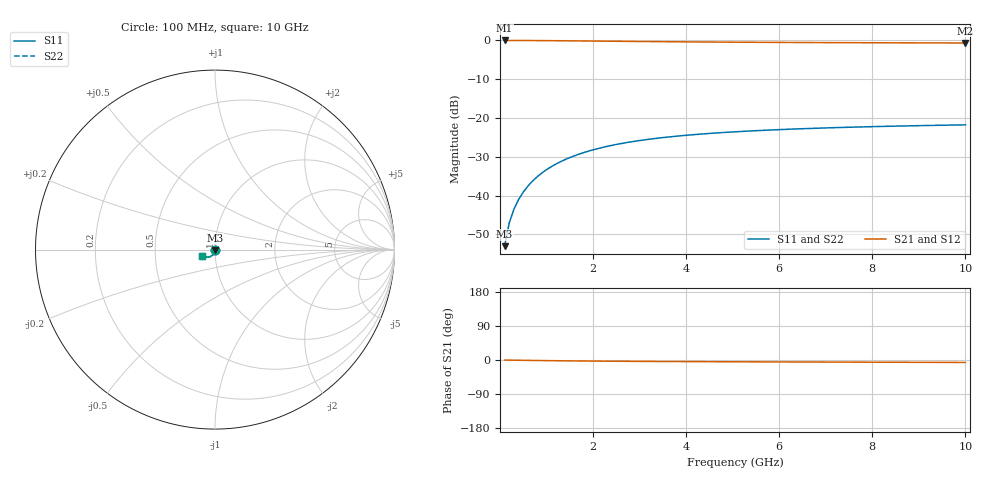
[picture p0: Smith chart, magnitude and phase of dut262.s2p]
! Touchstone file exported from HFSS 2024.1.0
!  File:  C:/UserFiles/LocalFiles/RDL_TSV_Batchsim/temp_TSV1_262_1778769593.aedt
!  Generated:  10:43:24 PM May 14, 2026
!  Design:  TSV1
!  Project:  temp_TSV1_262_1778769593
!  Setup:  Setup1
!  Solution:  Sweep
! Variables:
!  dtsv = 13.84um
!  hbump = 3um
!  htsv = 99.12um
!  lrdl = 252.1521522um
!  p = 40
!  p1 = 44.49um
!  t = 500um
!  trdl = 3um
!  wrdl = 24.89489489um
# GHz S MA R 50.000000
! Terminal data exported
! Port[1] = TSV22_T1
! Port[2] = TSV22_T2
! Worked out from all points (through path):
!   100 points, 100 MHz to 10 GHz, reference 50 ohm
!   highest |S21| = 0.00 dB at 100 MHz (marker M1); lowest = -0.7 dB at 10 GHz (marker M2)
!   lowest |S11| = -53.1 dB at 100 MHz (marker M3), VSWR 1.00, Z = 50 - j0.222 ohm
!   |S11| at or under -10 dB: start of sweep to end of sweep
!   |S22| runs from -53.1 to -21.8 dB; largest |S21 - S12| = 4.3e-15
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0.1  0.002221 -89.0  0.9998 -0.2  0.9998 -0.2  0.002221 -89.0
! Gamma 0 0 0 0
! Port Impedance 50 0 50 0
0.2  0.004441 -91.6  0.9996 -0.3  0.9996 -0.3  0.004441 -91.6
0.3  0.00666 -93.6  0.9993 -0.5  0.9993 -0.5  0.00666 -93.6
0.4  0.008869 -95.3  0.9989 -0.7  0.9989 -0.7  0.008869 -95.3
0.5  0.01106 -97.0  0.9983 -0.9  0.9983 -0.9  0.01106 -97.0
0.6  0.01322 -98.6  0.9977 -1.0  0.9977 -1.0  0.01322 -98.6
0.7  0.01535 -100.2  0.997 -1.2  0.997 -1.2  0.01535 -100.2
0.8  0.01745 -101.8  0.9961 -1.3  0.9961 -1.3  0.01745 -101.8
0.9  0.0195 -103.3  0.9952 -1.5  0.9952 -1.5  0.0195 -103.3
1.1  0.02348 -106.3  0.9932 -1.8  0.9932 -1.8  0.02348 -106.3
1.4  0.02907 -110.4  0.9898 -2.2  0.9898 -2.2  0.02907 -110.4
1.6  0.03253 -113.0  0.9873 -2.4  0.9873 -2.4  0.03253 -113.0
1.8  0.03578 -115.5  0.9847 -2.6  0.9847 -2.6  0.03578 -115.5
2.1  0.04026 -119.0  0.9808 -2.9  0.9808 -2.9  0.04026 -119.0
2.5  0.04553 -123.1  0.9756 -3.3  0.9756 -3.3  0.04554 -123.1
2.9  0.0501 -126.8  0.9706 -3.6  0.9706 -3.6  0.0501 -126.8
3.4  0.05496 -130.7  0.9649 -3.9  0.9649 -3.9  0.05496 -130.7
4.2  0.0612 -136.0  0.957 -4.3  0.957 -4.3  0.0612 -136.0
5.1  0.06658 -140.7  0.9496 -4.7  0.9496 -4.7  0.06658 -140.7
6.7  0.0734 -146.9  0.9398 -5.3  0.9398 -5.3  0.0734 -146.9
8.4  0.07829 -151.7  0.9324 -5.9  0.9324 -5.9  0.07829 -151.7
10  0.08155 -155.1  0.9274 -6.5  0.9274 -6.5  0.08155 -155.1
